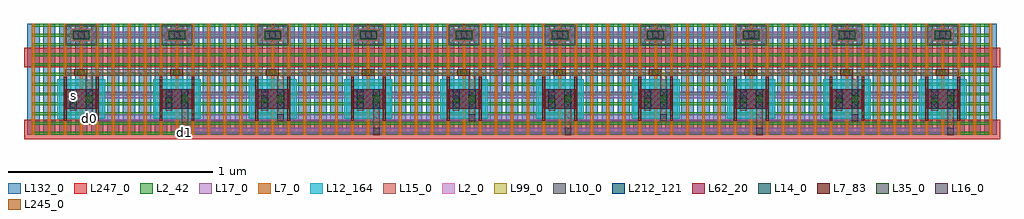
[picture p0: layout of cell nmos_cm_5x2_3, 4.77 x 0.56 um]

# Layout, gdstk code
import gdstk
lib = gdstk.Library(unit=1e-6, precision=1e-12)
def R(c, l, rs):  # rectangles x0, y0, x1, y1
    for r in rs: c.add(gdstk.rectangle(r[:2], r[2:], *l))
def A(c, l, x, y, w, h, nx, ny, dx, dy):  # array of equal rectangles
    R(c, l, [(x+i*dx, y+j*dy, x+i*dx+w, y+j*dy+h) for i in range(nx) for j in range(ny)])
L2_0 = (2, 0)
L2_42 = (2, 42)
L7_0 = (7, 0)
L7_83 = (7, 83)
L10_0 = (10, 0)
L12_164 = (12, 164)
L14_0 = (14, 0)
L15_0 = (15, 0)
L16_0 = (16, 0)
L17_0 = (17, 0)
L35_0 = (35, 0)
L62_20 = (62, 20)
L99_0 = (99, 0)
L132_0 = (132, 0)
L212_121 = (212, 121)
L245_0 = (245, 0)
L247_0 = (247, 0)

nmos_cm_5x2_3 = lib.new_cell('nmos_cm_5x2_3')
A(nmos_cm_5x2_3, L2_0, 0.186, 0.127, 0.156, 0.096, 10, 1, 0.468, 0)
A(nmos_cm_5x2_3, L2_0, 0.209, 0.457, 0.11, 0.06, 10, 1, 0.468, 0)
A(nmos_cm_5x2_3, L2_42, 0.023, 0, 4.68, 0.014, 1, 12, 0, 0.048)
A(nmos_cm_5x2_3, L7_0, 0.023, 0, 0.014, 0.542, 61, 1, 0.078, 0)
R(nmos_cm_5x2_3, L7_83, [(0.179,0.067,0.193,0.283), (0.335,0.067,0.349,0.283), (0.647,0.067,0.661,0.283), (0.803,0.067,0.817,0.283), (1.115,0.067,1.129,0.283), (1.271,0.067,1.285,0.283), (1.583,0.067,1.597,0.283), (1.739,0.067,1.753,0.283), (2.051,0.067,2.065,0.283), (2.207,0.067,2.221,0.283), (2.519,0.067,2.533,0.283), (2.675,0.067,2.689,0.283), (2.987,0.067,3.001,0.283), (3.143,0.067,3.157,0.283), (3.455,0.067,3.469,0.283), (3.611,0.067,3.625,0.283), (3.923,0.067,3.937,0.283), (4.079,0.067,4.093,0.283), (4.391,0.067,4.405,0.283), (4.547,0.067,4.561,0.283)])
A(nmos_cm_5x2_3, L10_0, 0.189, 0.437, 0.15, 0.1, 10, 1, 0.468, 0)
A(nmos_cm_5x2_3, L12_164, 0.147, 0.079, 0.234, 0.192, 10, 1, 0.468, 0)
A(nmos_cm_5x2_3, L14_0, 0.224, 0.467, 0.08, 0.04, 10, 1, 0.468, 0)
R(nmos_cm_5x2_3, L14_0, [(0.208,0.127,0.242,0.223), (0.286,0.127,0.32,0.223), (0.676,0.127,0.71,0.223), (0.754,0.127,0.788,0.223), (1.144,0.127,1.178,0.223), (1.222,0.127,1.256,0.223), (1.612,0.127,1.646,0.223), (1.69,0.127,1.724,0.223), (2.08,0.127,2.114,0.223), (2.158,0.127,2.192,0.223), (2.548,0.127,2.582,0.223), (2.626,0.127,2.66,0.223), (3.016,0.127,3.05,0.223), (3.094,0.127,3.128,0.223), (3.484,0.127,3.518,0.223), (3.562,0.127,3.596,0.223), (3.952,0.127,3.986,0.223), (4.03,0.127,4.064,0.223), (4.42,0.127,4.454,0.223), (4.498,0.127,4.532,0.223)])
A(nmos_cm_5x2_3, L15_0, 0.755, -0.003, 0.032, 0.125, 5, 1, 0.936, 0)
A(nmos_cm_5x2_3, L15_0, 0.287, 0.062, 0.032, 0.06, 5, 1, 0.936, 0)
A(nmos_cm_5x2_3, L15_0, 0.287, 0.222, 0.032, 0.098, 5, 1, 0.936, 0)
A(nmos_cm_5x2_3, L15_0, 0.186, 0.288, 0.156, 0.032, 10, 1, 0.468, 0)
A(nmos_cm_5x2_3, L15_0, 0.224, 0.471, 0.08, 0.032, 10, 1, 0.468, 0)
R(nmos_cm_5x2_3, L15_0, [(0.209,0.117,0.241,0.223), (0.287,0.117,0.319,0.223), (0.677,0.117,0.709,0.223), (0.755,0.117,0.787,0.223), (1.145,0.117,1.177,0.223), (1.223,0.117,1.255,0.223), (1.613,0.117,1.645,0.223), (1.691,0.117,1.723,0.223), (2.081,0.117,2.113,0.223), (2.159,0.117,2.191,0.223), (2.549,0.117,2.581,0.223), (2.627,0.117,2.659,0.223), (3.017,0.117,3.049,0.223), (3.095,0.117,3.127,0.223), (3.485,0.117,3.517,0.223), (3.563,0.117,3.595,0.223), (3.953,0.117,3.985,0.223), (4.031,0.117,4.063,0.223), (4.421,0.117,4.453,0.223), (4.499,0.117,4.531,0.223), (0.186,0.288,4.398,0.32)])
A(nmos_cm_5x2_3, L16_0, 0.755, 0.002, 0.032, 0.032, 5, 1, 0.936, 0)
A(nmos_cm_5x2_3, L16_0, 0.287, 0.067, 0.032, 0.032, 5, 1, 0.936, 0)
A(nmos_cm_5x2_3, L16_0, 0.209, 0.177, 0.032, 0.032, 10, 1, 0.468, 0)
A(nmos_cm_5x2_3, L16_0, 0.248, 0.471, 0.032, 0.032, 10, 1, 0.468, 0)
A(nmos_cm_5x2_3, L17_0, 0.186, 0.177, 0.078, 0.032, 10, 1, 0.468, 0)
A(nmos_cm_5x2_3, L17_0, 0.224, 0.471, 0.08, 0.032, 10, 1, 0.468, 0)
R(nmos_cm_5x2_3, L17_0, [(0.739,0.002,4.549,0.034), (0.271,0.067,4.081,0.099), (0.186,0.177,4.398,0.209), (2.292,0.177,2.324,0.526), (0.264,0.471,4.476,0.503)])
A(nmos_cm_5x2_3, L35_0, 0.2455, 0.288, 0.032, 0.032, 10, 1, 0.468, 0)
A(nmos_cm_5x2_3, L35_0, 0.248, 0.471, 0.032, 0.032, 10, 1, 0.468, 0)
R(nmos_cm_5x2_3, L35_0, [(0.209,0.159,0.241,0.191), (0.287,0.159,0.319,0.191), (0.677,0.159,0.709,0.191), (0.755,0.159,0.787,0.191), (1.145,0.159,1.177,0.191), (1.223,0.159,1.255,0.191), (1.613,0.159,1.645,0.191), (1.691,0.159,1.723,0.191), (2.081,0.159,2.113,0.191), (2.159,0.159,2.191,0.191), (2.549,0.159,2.581,0.191), (2.627,0.159,2.659,0.191), (3.017,0.159,3.049,0.191), (3.095,0.159,3.127,0.191), (3.485,0.159,3.517,0.191), (3.563,0.159,3.595,0.191), (3.953,0.159,3.985,0.191), (4.031,0.159,4.063,0.191), (4.421,0.159,4.453,0.191), (4.499,0.159,4.531,0.191)])
A(nmos_cm_5x2_3, L62_20, 0.186, 0.127, 0.156, 0.096, 10, 1, 0.468, 0)
A(nmos_cm_5x2_3, L99_0, 0.186, 0.127, 0.156, 0.096, 10, 1, 0.468, 0)
A(nmos_cm_5x2_3, L99_0, 0.219, 0.462, 0.09, 0.05, 10, 1, 0.468, 0)
A(nmos_cm_5x2_3, L132_0, 0, 0, 0.06, 0.542, 61, 1, 0.078, 0)
A(nmos_cm_5x2_3, L212_121, 0.186, 0.127, 0.156, 0.096, 10, 1, 0.468, 0)
A(nmos_cm_5x2_3, L245_0, 0.2305, 0.289, 0.062, 0.03, 10, 1, 0.468, 0)
A(nmos_cm_5x2_3, L247_0, -0.016, -0.022, 0.56, 0.094, 10, 2, 0.468, 0.352)
nmos_cm_5x2_3.add(gdstk.Label('d0', (0.303,0.078), layer=15, texttype=20))
nmos_cm_5x2_3.add(gdstk.Label('d1', (0.771,0.013), layer=15, texttype=20))
nmos_cm_5x2_3.add(gdstk.Label('s', (0.225,0.193), layer=15, texttype=20))

lib.write_gds('nmos_cm_5x2_3.gds')
